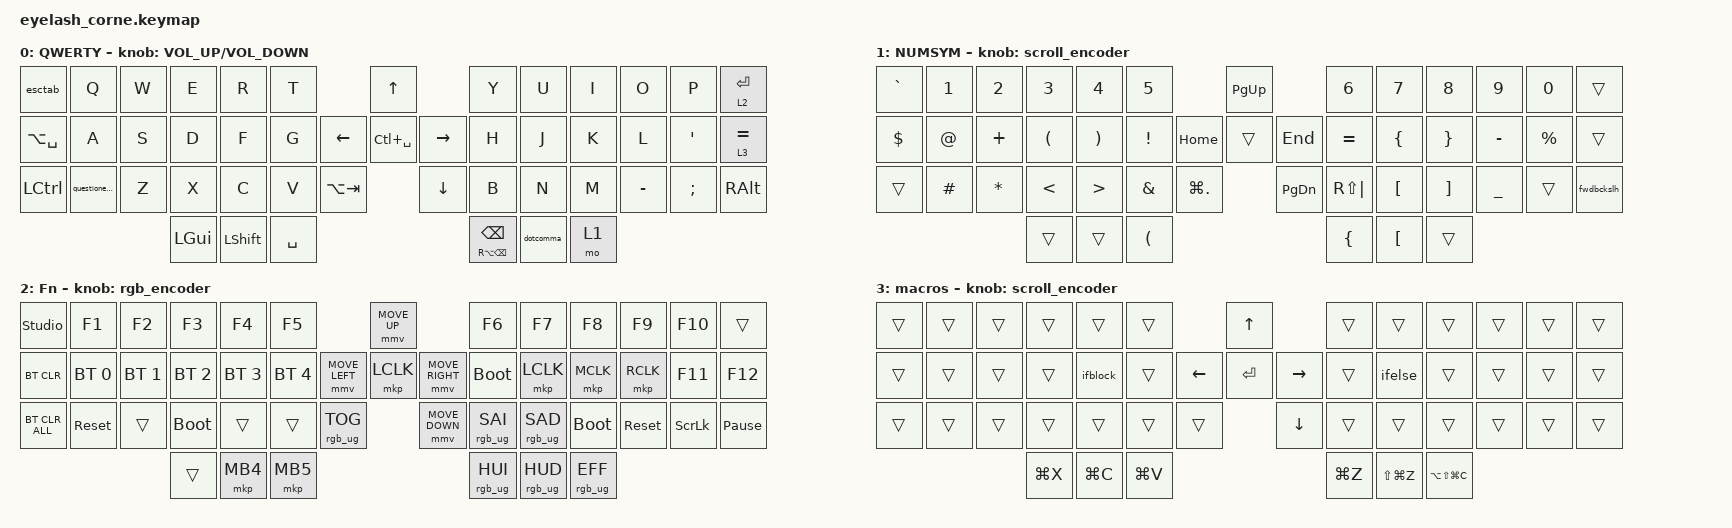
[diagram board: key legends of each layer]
#include <dt-bindings/zmk/mouse.h>
#include <input/processors.dtsi>
#include <behaviors.dtsi>
#include <dt-bindings/zmk/bt.h>
#include <dt-bindings/zmk/keys.h>
#include <dt-bindings/zmk/pointing.h>
#include <dt-bindings/zmk/pointing.h>
#include <dt-bindings/zmk/pointing.h>
#include <dt-bindings/zmk/rgb.h>

/*

   &mmv_input_listener {
       input-processors = <&zip_xy_scaler 2 1>;
   };

   &msc_input_listener {
       input-processors = <&zip_xy_scaler 2 1>;
   };

 */

#define ZMK_MOUSE_DEFAULT_MOVE_VAL 1200  // 600
#define ZMK_MOUSE_DEFAULT_SCRL_VAL 140    // 10

/ {
    behaviors {
        fwdbckslh: fwdbckslh {
            compatible = "zmk,behavior-tap-dance";
            display-name = "Shift/Caps Lock Tap Dance";
            #binding-cells = <0>;
            bindings = <&kp FSLH>, <&kp BSLH>;

            label = "FWD BCK Slash";
            tapping-term-ms = <500>;
        };

        holdtap: holdtap {
            compatible = "zmk,behavior-hold-tap";
            label = "Hold Tap";
            bindings = <&mo>, <&kp>;

            #binding-cells = <2>;
            tapping-term-ms = <500>;
        };

        dotcomma: dotcomma {
            compatible = "zmk,behavior-tap-dance";
            display-name = "Shift/Caps Lock Tap Dance";
            #binding-cells = <0>;
            bindings = <&kp COMMA>, <&kp PERIOD>;

            label = "Dot and Comma";
            tapping-term-ms = <500>;
        };

        questionexcl: questionexcl {
            compatible = "zmk,behavior-tap-dance";
            label = "Question and Excl";
            #binding-cells = <0>;
            bindings = <&kp QUESTION>, <&kp EXCLAMATION>;

            tapping-term-ms = <500>;
        };

        esctab: esctab {
            compatible = "zmk,behavior-tap-dance";
            label = "Esc Tab";
            #binding-cells = <0>;
            bindings = <&kp TAB>, <&kp ESCAPE>;

            tapping-term-ms = <500>;
        };

        holdtapkp: holdtapkp {
            compatible = "zmk,behavior-hold-tap";
            label = "HOLDTAPKP";
            bindings = <&kp>, <&kp>;

            #binding-cells = <2>;
            tapping-term-ms = <500>;
        };

        holdtapfast: holdtapfast {
            compatible = "zmk,behavior-hold-tap";
            label = "HOLDTAPFAST";
            bindings = <&mo>, <&kp>;

            #binding-cells = <2>;
            tapping-term-ms = <250>;
        };
    };

    rgb_encoder: rgb_encoder {
        compatible = "zmk,behavior-sensor-rotate";
        #sensor-binding-cells = <0>;
        bindings = <&rgb_ug RGB_BRI>, <&rgb_ug RGB_BRD>;
    };

    scroll_encoder: scroll_encoder {
        compatible = "zmk,behavior-sensor-rotate";
        #sensor-binding-cells = <0>;
        bindings = <&msc SCRL_DOWN>, <&msc SCRL_UP>;

        tap-ms = <20>;
    };

    macros {
        ifblock: ifblock {
            compatible = "zmk,behavior-macro";
            #binding-cells = <0>;
            bindings = <&kp I &kp F &kp LPAR &kp RPAR &kp LEFT_BRACE &kp RIGHT_BRACE>;
            label = "IFBLOCK";
        };

        ifelse: ifelse {
            compatible = "zmk,behavior-macro";
            #binding-cells = <0>;
            bindings = <&none &kp I &kp F &kp LPAR &kp RPAR &kp RBKT &kp RBRC &kp E &kp L &kp S &kp E &kp RBKT &kp RBRC>;
            label = "IFELSE";
        };
    };

    keymap {
        compatible = "zmk,keymap";

        default_layer {
            display-name = "QWERTY";
            bindings = <
&esctab           &kp Q          &kp W  &kp E     &kp R           &kp T                                     &kp UP_ARROW                     &kp Y                               &kp U      &kp I  &kp O      &kp P             &holdtap 2 ENTER
&kp LA(SPACE)     &kp A          &kp S  &kp D     &kp F           &kp G                     &kp LEFT_ARROW  &kp LC(SPACE)   &kp RIGHT_ARROW  &kp H                               &kp J      &kp K  &kp L      &kp SINGLE_QUOTE  &holdtapfast 3 EQUAL
&kp LEFT_CONTROL  &questionexcl  &kp Z  &kp X     &kp C           &kp V      &kp LA(TAB)                    &kp DOWN_ARROW                   &kp B                               &kp N      &kp M  &kp MINUS  &kp SEMICOLON     &kp RIGHT_ALT
                                        &kp LGUI  &kp LEFT_SHIFT  &kp SPACE                                                                  &holdtapkp RA(BACKSPACE) BACKSPACE  &dotcomma  &mo 1
            >;

            sensor-bindings = <&inc_dec_kp C_VOLUME_UP C_VOLUME_DOWN>;
        };

        layer_1 {
            display-name = "NUMSYM";
            bindings = <
&kp GRAVE   &kp N1       &kp N2        &kp N3                &kp N4                 &kp N5                                            &kp PAGE_UP             &kp N6          &kp N7            &kp N8             &kp N9          &kp N0       &trans
&kp DOLLAR  &kp AT_SIGN  &kp PLUS      &kp LEFT_PARENTHESIS  &kp RIGHT_PARENTHESIS  &kp EXCLAMATION                         &kp HOME  &trans         &kp END  &kp EQUAL       &kp LEFT_BRACE    &kp RIGHT_BRACE    &kp MINUS       &kp PERCENT  &trans
&trans      &kp POUND    &kp ASTERISK  &kp LESS_THAN         &kp GREATER_THAN       &kp AMPERSAND         &kp LG(PERIOD)              &kp PAGE_DOWN           &kp RS(PIPE)    &kp LEFT_BRACKET  &kp RIGHT_BRACKET  &kp UNDERSCORE  &trans       &fwdbckslh
                                       &trans                &trans                 &kp LEFT_PARENTHESIS                                                      &kp LEFT_BRACE  &kp LEFT_BRACKET  &trans
            >;

            sensor-bindings = <&scroll_encoder>;
        };

        layer_2 {
            display-name = "Fn";
            bindings = <
&studio_unlock  &kp F1        &kp F2        &kp F3        &kp F4        &kp F5                                           &mmv MOVE_UP                     &kp F6           &kp F7           &kp F8           &kp F9      &kp F10         &trans
&bt BT_CLR      &bt BT_SEL 0  &bt BT_SEL 1  &bt BT_SEL 2  &bt BT_SEL 3  &bt BT_SEL 4                     &mmv MOVE_LEFT  &mkp LCLK       &mmv MOVE_RIGHT  &bootloader      &mkp LCLK        &mkp MCLK        &mkp RCLK   &kp F11         &kp F12
&bt BT_CLR_ALL  &sys_reset    &trans        &bootloader   &trans        &trans        &rgb_ug RGB_TOG                    &mmv MOVE_DOWN                   &rgb_ug RGB_SAI  &rgb_ug RGB_SAD  &bootloader      &sys_reset  &kp SCROLLLOCK  &kp PAUSE_BREAK
                                            &trans        &mkp MB4      &mkp MB5                                                                          &rgb_ug RGB_HUI  &rgb_ug RGB_HUD  &rgb_ug RGB_EFF
            >;

            sensor-bindings = <&rgb_encoder>;
        };

        layer_3 {
            bindings = <
&trans  &trans  &trans  &trans     &trans     &trans                               &kp UP_ARROW                     &trans     &trans         &trans             &trans  &trans  &trans
&trans  &trans  &trans  &trans     &ifblock   &trans               &kp LEFT_ARROW  &kp ENTER       &kp RIGHT_ARROW  &trans     &ifelse        &trans             &trans  &trans  &trans
&trans  &trans  &trans  &trans     &trans     &trans     &trans                    &kp DOWN_ARROW                   &trans     &trans         &trans             &trans  &trans  &trans
                        &kp LG(X)  &kp LG(C)  &kp LG(V)                                                             &kp LG(Z)  &kp LS(LG(Z))  &kp LA(LS(LG(C)))
            >;

            label = "macros";
            sensor-bindings = <&scroll_encoder>;
        };
    };
};
